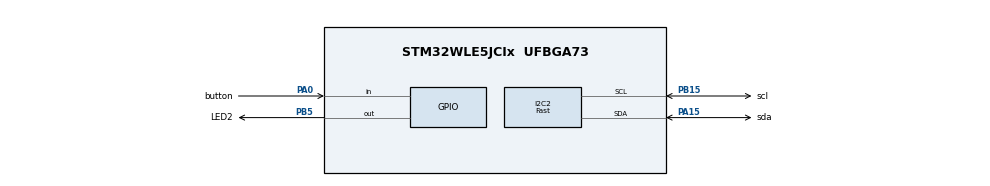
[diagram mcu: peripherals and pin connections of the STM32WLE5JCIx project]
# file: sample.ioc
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Mcu.Family=STM32WL
I2C2.Timing=0x00000004
PA0.GPIO_Label=button
PB15.Signal=I2C2_SCL
ProjectManager.StackSize=0x400
PA15.GPIO_Label=sda
ProjectManager.TargetToolchain=STM32CubeIDE
I2C2.I2C_Speed_Mode=I2C_Fast
RCC.LSE_VALUE=32768
RCC.HSE_VALUE=8000000
board=custom
RCC.VCOOutputFreq_Value=32000000
PA15.Mode=I2C
PB15.Mode=I2C
PB15.GPIO_Label=scl
Mcu.Name=STM32WLE5JCIx
PA0.Signal=GPIO_Input
Mcu.Package=UFBGA73
PB5.Signal=GPIO_Output
PA0.GPIO_PuPd=GPIO_PULLUP
PA15.Signal=I2C2_SDA
ProjectManager.HeapSize=0x200
RCC.HSI_VALUE=16000000
NVIC.PriorityGroup=NVIC_PRIORITYGROUP_4
PB5.GPIO_Label=LED2

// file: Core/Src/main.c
/* USER CODE BEGIN Header */
/**
  ******************************************************************************
  * @file           : main.c
  * @brief          : Main program body
  ******************************************************************************
  * @attention
  *
  * <h2><center>&copy; Copyright (c) 2019 STMicroelectronics.
  * All rights reserved.</center></h2>
  *
  * This software component is licensed by ST under BSD 3-Clause license,
  * the "License"; You may not use this file except in compliance with the
  * License. You may obtain a copy of the License at:
  *                        opensource.org/licenses/BSD-3-Clause
  *
  ******************************************************************************
  */
/* USER CODE END Header */
#include "main.h"

/* USER CODE BEGIN Includes */

#include "fonts.h"
#include "ssd1306.h"
#include "test.h"
#include "stdio.h"
//#include <string>
//#include "bitmap.h"
//#include "horse_anim.h"

/* USER CODE END Includes */

I2C_HandleTypeDef hi2c2;

void SystemClock_Config(void);
static void MX_GPIO_Init(void);
static void MX_I2C2_Init(void);

int main(void)
{

  /* MCU Configuration--------------------------------------------------------*/

  /* Reset of all peripherals, Initializes the Flash interface and the Systick. */
  HAL_Init();

  /* Configure the system clock */
  SystemClock_Config();

  /* Initialize all configured peripherals */
  MX_GPIO_Init();
  MX_I2C2_Init();

  /* Infinite loop */
  /* USER CODE BEGIN WHILE */
	SSD1306_Init();  // initialise

//	lets print hello world
	SSD1306_GotoXY (0,0);
	SSD1306_Puts ("HELLO", &Font_11x18, 1);
	SSD1306_GotoXY (10, 30);
	SSD1306_Puts ("  WORLD :)", &Font_11x18, 1);
	SSD1306_UpdateScreen(); //display

	HAL_Delay (2000);

	char print[] = "A";

	while (1)
	{

		if(HAL_GPIO_ReadPin(button_GPIO_Port, button_Pin) == GPIO_PIN_RESET){
			SSD1306_Clear();  // scroll entire screen
			SSD1306_GotoXY (0,0);
			SSD1306_Puts (print, &Font_11x18, 1);
			SSD1306_UpdateScreen(); //display
			print[0]+=1;

			HAL_GPIO_TogglePin(LED2_GPIO_Port, LED2_Pin);
			HAL_Delay(1000);

		}

    /* USER CODE END WHILE */

	}
}

void SystemClock_Config(void)
{
  RCC_OscInitTypeDef RCC_OscInitStruct = {0};
  RCC_ClkInitTypeDef RCC_ClkInitStruct = {0};

  /** Configure the main internal regulator output voltage
  */
  __HAL_PWR_VOLTAGESCALING_CONFIG(PWR_REGULATOR_VOLTAGE_SCALE2);
  /** Initializes the CPU, AHB and APB busses clocks
  */
  RCC_OscInitStruct.OscillatorType = RCC_OSCILLATORTYPE_MSI;
  RCC_OscInitStruct.MSIState = RCC_MSI_ON;
  RCC_OscInitStruct.MSICalibrationValue = RCC_MSICALIBRATION_DEFAULT;
  RCC_OscInitStruct.MSIClockRange = RCC_MSIRANGE_6;
  RCC_OscInitStruct.PLL.PLLState = RCC_PLL_NONE;
  if (HAL_RCC_OscConfig(&RCC_OscInitStruct) != HAL_OK)
  {
    Error_Handler();
  }
  /** Configure the SYSCLKSource, HCLK, PCLK1 and PCLK2 clocks dividers
  */
  RCC_ClkInitStruct.ClockType = RCC_CLOCKTYPE_HCLK3|RCC_CLOCKTYPE_HCLK
                              |RCC_CLOCKTYPE_SYSCLK|RCC_CLOCKTYPE_PCLK1
                              |RCC_CLOCKTYPE_PCLK2;
  RCC_ClkInitStruct.SYSCLKSource = RCC_SYSCLKSOURCE_MSI;
  RCC_ClkInitStruct.AHBCLKDivider = RCC_SYSCLK_DIV1;
  RCC_ClkInitStruct.APB1CLKDivider = RCC_HCLK_DIV1;
  RCC_ClkInitStruct.APB2CLKDivider = RCC_HCLK_DIV1;
  RCC_ClkInitStruct.AHBCLK3Divider = RCC_SYSCLK_DIV1;

  if (HAL_RCC_ClockConfig(&RCC_ClkInitStruct, FLASH_LATENCY_0) != HAL_OK)
  {
    Error_Handler();
  }
}

static void MX_I2C2_Init(void)
{

  hi2c2.Instance = I2C2;
  hi2c2.Init.Timing = 0x00000004;
  hi2c2.Init.OwnAddress1 = 0;
  hi2c2.Init.AddressingMode = I2C_ADDRESSINGMODE_7BIT;
  hi2c2.Init.DualAddressMode = I2C_DUALADDRESS_DISABLE;
  hi2c2.Init.OwnAddress2 = 0;
  hi2c2.Init.OwnAddress2Masks = I2C_OA2_NOMASK;
  hi2c2.Init.GeneralCallMode = I2C_GENERALCALL_DISABLE;
  hi2c2.Init.NoStretchMode = I2C_NOSTRETCH_DISABLE;
  if (HAL_I2C_Init(&hi2c2) != HAL_OK)
  {
    Error_Handler();
  }
  /** Configure Analogue filter
  */
  if (HAL_I2CEx_ConfigAnalogFilter(&hi2c2, I2C_ANALOGFILTER_ENABLE) != HAL_OK)
  {
    Error_Handler();
  }
  /** Configure Digital filter
  */
  if (HAL_I2CEx_ConfigDigitalFilter(&hi2c2, 0) != HAL_OK)
  {
    Error_Handler();
  }
  /* USER CODE BEGIN I2C2_Init 2 */
//	if(HAL_GPIO_ReadPin(button_GPIO_Port, button_Pin) == GPIO_PIN_RESET){
//	  HAL_GPIO_TogglePin(LED1_GPIO_Port, LED1_Pin);
//	  HAL_Delay(500);
//	}
//
//	else if(HAL_GPIO_ReadPin(button_GPIO_Port, button_Pin) == GPIO_PIN_SET){
//	  HAL_GPIO_TogglePin(LED1_GPIO_Port, LED1_Pin);
//	  HAL_Delay(1000);
//	}
  /* USER CODE END I2C2_Init 2 */

}

static void MX_GPIO_Init(void)
{
  GPIO_InitTypeDef GPIO_InitStruct = {0};

  /* GPIO Ports Clock Enable */
  __HAL_RCC_GPIOA_CLK_ENABLE();
  __HAL_RCC_GPIOB_CLK_ENABLE();

  /*Configure GPIO pin Output Level */
  HAL_GPIO_WritePin(LED2_GPIO_Port, LED2_Pin, GPIO_PIN_RESET);

  /*Configure GPIO pin : LED2_Pin */
  GPIO_InitStruct.Pin = LED2_Pin;
  GPIO_InitStruct.Mode = GPIO_MODE_OUTPUT_PP;
  GPIO_InitStruct.Pull = GPIO_NOPULL;
  GPIO_InitStruct.Speed = GPIO_SPEED_FREQ_LOW;
  HAL_GPIO_Init(LED2_GPIO_Port, &GPIO_InitStruct);

  /*Configure GPIO pin : button_Pin */
  GPIO_InitStruct.Pin = button_Pin;
  GPIO_InitStruct.Mode = GPIO_MODE_INPUT;
  GPIO_InitStruct.Pull = GPIO_PULLUP;
  HAL_GPIO_Init(button_GPIO_Port, &GPIO_InitStruct);

}

void Error_Handler(void)
{
}

/************************ (C) COPYRIGHT STMicroelectronics *****END OF FILE****/
